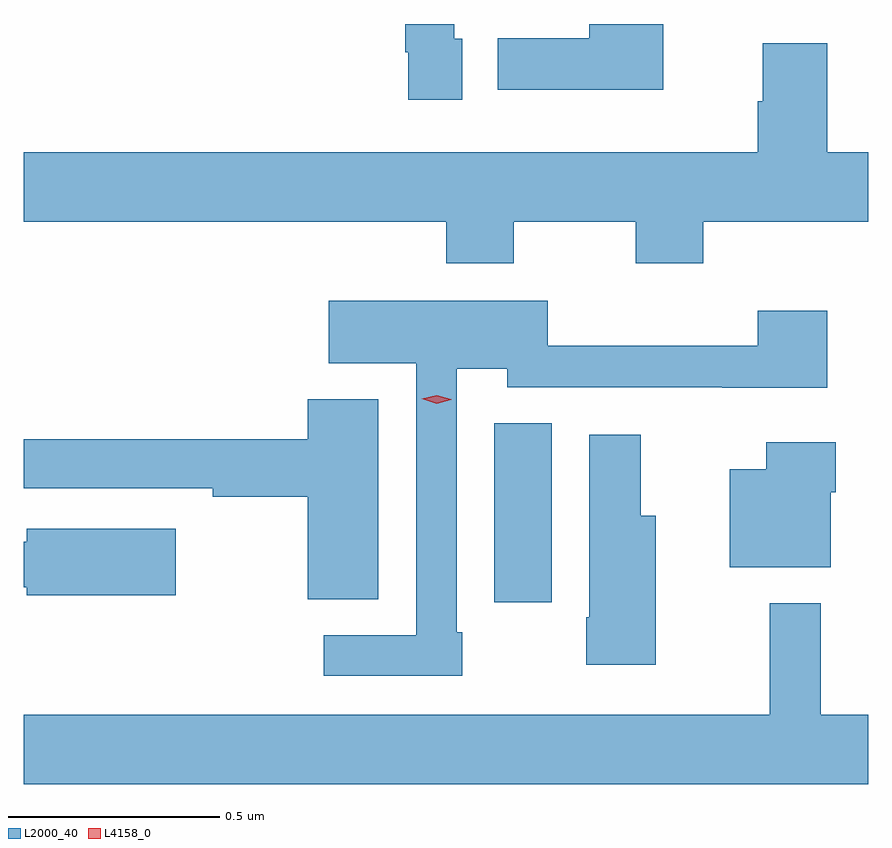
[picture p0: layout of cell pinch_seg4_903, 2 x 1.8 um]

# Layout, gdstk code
import gdstk
lib = gdstk.Library(unit=1e-6, precision=1e-09)
def R(c, l, rs):  # rectangles x0, y0, x1, y1
    for r in rs: c.add(gdstk.rectangle(r[:2], r[2:], *l))
def P(c, l, *ps):  # polygons
    for p in ps: c.add(gdstk.Polygon(p, *l))
L2000_40 = (2000, 40)
L4158_0 = (4158, 0)

pinch_seg4_903 = lib.new_cell('pinch_seg4_903')
R(pinch_seg4_903, L2000_40, [(708.149,815.898,708.286,816.323)])
P(pinch_seg4_903, L2000_40, [(708.073,817.233),(708.054,817.233),(708.054,817.268),(707.938,817.268),(707.938,817.201),(707.946,817.201),(707.946,817.089),(708.073,817.089)],
  [(708.55,817.268),(708.374,817.268),(708.374,817.234),(708.158,817.234),(708.158,817.112),(708.55,817.112)],
  [(708.195,816.8),(708.484,816.8),(708.484,816.701),(708.644,816.701),(708.644,816.8),(709.035,816.8),(709.035,816.964),(708.938,816.964),(708.938,817.222),(708.785,817.222),(708.785,817.085),(708.773,817.085),(708.773,816.964),(707.035,816.964),(707.035,816.8),(708.035,816.8),(708.035,816.701),(708.195,816.701)],
  [(708.073,815.827),(708.06,815.827),(708.06,816.452),(708.18,816.452),(708.18,816.408),(708.689,816.408),(708.689,816.407),(708.938,816.407),(708.938,816.589),(708.773,816.589),(708.773,816.506),(708.276,816.506),(708.276,816.613),(707.757,816.613),(707.757,816.464),(707.964,816.464),(707.964,815.82),(707.745,815.82),(707.745,815.724),(708.073,815.724)],
  [(707.875,816.379),(707.708,816.379),(707.708,816.284),(707.035,816.284),(707.035,816.168),(707.482,816.168),(707.482,816.148),(707.708,816.148),(707.708,815.905),(707.875,815.905)],
  [(708.532,816.103),(708.496,816.103),(708.496,816.295),(708.374,816.295),(708.374,815.863),(708.367,815.863),(708.367,815.751),(708.532,815.751)],
  [(708.946,816.159),(708.958,816.159),(708.958,816.277),(708.793,816.277),(708.793,816.214),(708.707,816.214),(708.707,815.981),(708.946,815.981)],
  [(707.395,816.073),(707.042,816.073),(707.042,816.042),(707.035,816.042),(707.035,815.934),(707.042,815.934),(707.042,815.915),(707.395,815.915)],
  [(709.035,815.632),(708.923,815.632),(708.923,815.896),(708.802,815.896),(708.802,815.632),(707.035,815.632),(707.035,815.468),(709.035,815.468)])
P(pinch_seg4_903, L4158_0, [(708.013,816.369),(707.978,816.38),(707.978,816.38),(707.978,816.38),(708.013,816.389),(708.047,816.379),(708.048,816.378),(708.047,816.378)])

lib.write_gds('pinch_seg4_903.gds')
